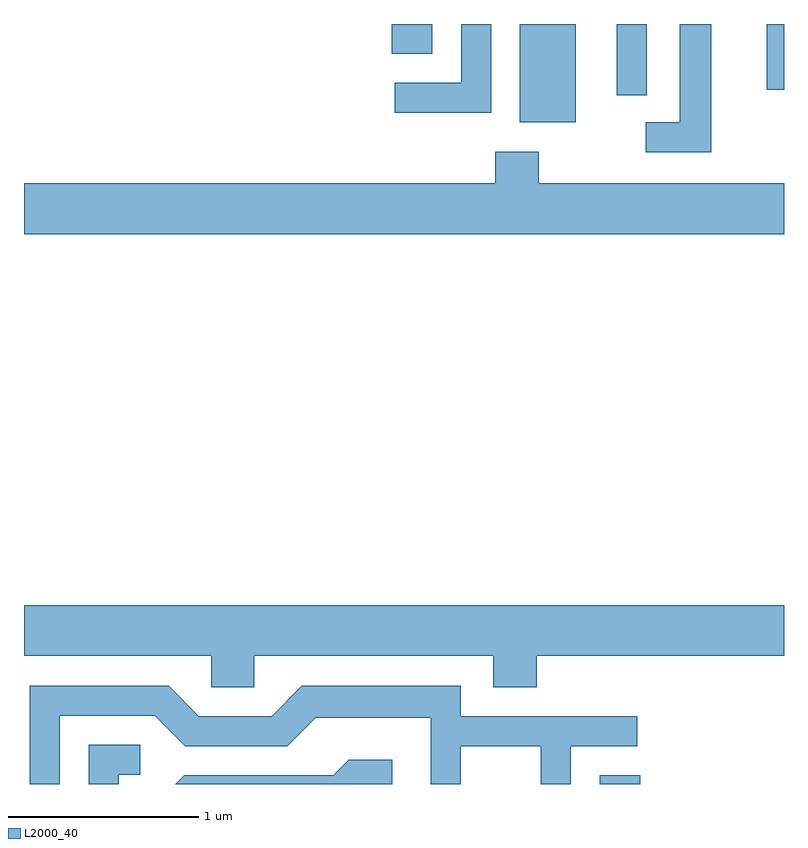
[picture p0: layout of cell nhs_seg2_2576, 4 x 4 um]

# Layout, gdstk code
import gdstk
lib = gdstk.Library(unit=1e-6, precision=1e-09)
def R(c, l, rs):  # rectangles x0, y0, x1, y1
    for r in rs: c.add(gdstk.rectangle(r[:2], r[2:], *l))
def P(c, l, *ps):  # polygons
    for p in ps: c.add(gdstk.Polygon(p, *l))
L2000_40 = (2000, 40)

nhs_seg2_2576 = lib.new_cell('nhs_seg2_2576')
R(nhs_seg2_2576, L2000_40, [(262.641,1109.802,262.854,1109.849), (262.221,1113.286,262.514,1113.802), (262.731,1113.428,262.889,1113.802), (263.521,1113.456,263.611,1113.802), (261.546,1113.646,261.759,1113.802)])
P(nhs_seg2_2576, L2000_40, [(262.069,1113.802),(261.911,1113.802),(261.911,1113.494),(261.563,1113.494),(261.563,1113.336),(262.069,1113.336)],
  [(263.229,1113.802),(263.061,1113.802),(263.061,1113.284),(262.883,1113.284),(262.883,1113.126),(263.229,1113.126)],
  [(263.611,1112.964),(262.319,1112.964),(262.319,1113.129),(262.091,1113.129),(262.091,1112.964),(259.611,1112.964),(259.611,1112.696),(263.611,1112.696)],
  [(260.824,1110.476),(262.081,1110.476),(262.081,1110.311),(262.309,1110.311),(262.309,1110.476),(263.611,1110.476),(263.611,1110.744),(259.611,1110.744),(259.611,1110.476),(260.596,1110.476),(260.596,1110.311),(260.824,1110.311)],
  [(259.799,1110.161),(260.299,1110.161),(260.459,1110.001),(260.997,1110.001),(261.147,1110.151),(261.751,1110.151),(261.751,1109.802),(261.909,1109.802),(261.909,1110.001),(262.331,1110.001),(262.331,1109.802),(262.489,1109.802),(262.489,1110.001),(262.838,1110.001),(262.838,1110.159),(261.909,1110.159),(261.909,1110.319),(261.074,1110.319),(260.914,1110.159),(260.532,1110.159),(260.372,1110.319),(259.641,1110.319),(259.641,1109.802),(259.799,1109.802)],
  [(260.109,1109.851),(260.223,1109.851),(260.223,1110.009),(259.951,1110.009),(259.951,1109.802),(260.109,1109.802)],
  [(261.548,1109.929),(261.319,1109.929),(261.239,1109.849),(260.454,1109.849),(260.407,1109.802),(261.548,1109.802)])

lib.write_gds('nhs_seg2_2576.gds')
